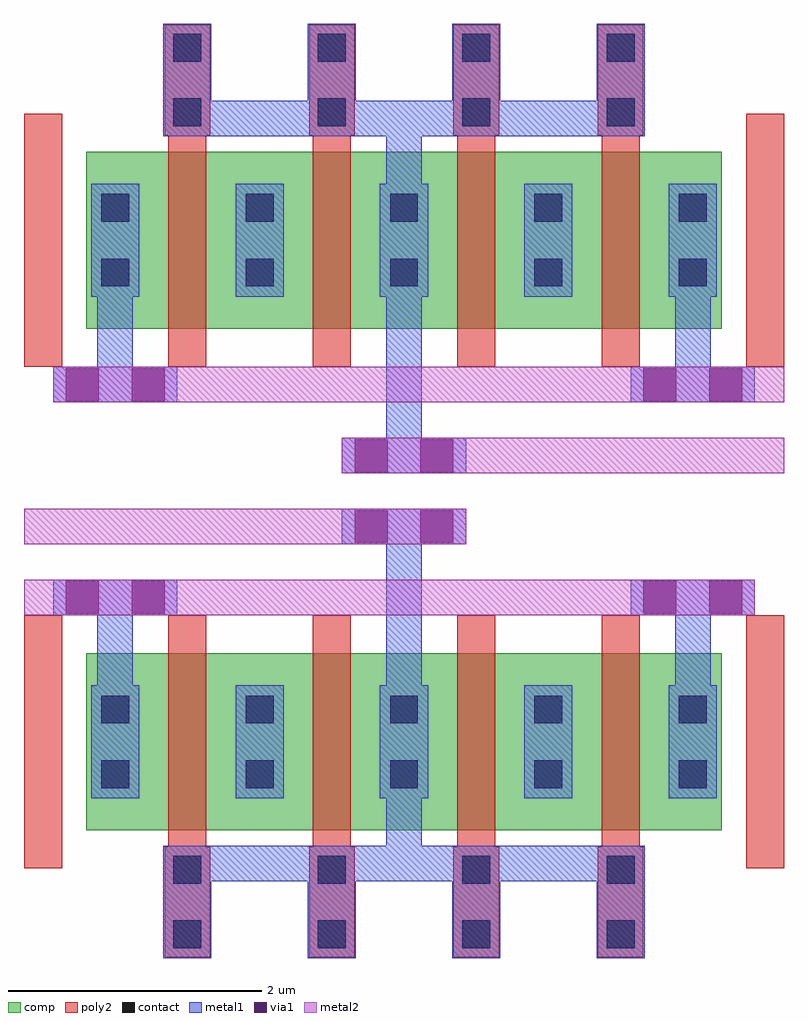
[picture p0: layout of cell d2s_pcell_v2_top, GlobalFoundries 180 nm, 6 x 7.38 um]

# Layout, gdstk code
from math import pi, radians
import gdstk
lib = gdstk.Library(unit=1e-6, precision=5e-09)
def R(c, l, rs):  # rectangles x0, y0, x1, y1
    for r in rs: c.add(gdstk.rectangle(r[:2], r[2:], *l))
def A(c, l, x, y, w, h, nx, ny, dx, dy):  # array of equal rectangles
    R(c, l, [(x+i*dx, y+j*dy, x+i*dx+w, y+j*dy+h) for i in range(nx) for j in range(ny)])
comp = (22, 0)
poly2 = (30, 0)
contact = (33, 0)
metal1 = (34, 0)
via1 = (35, 0)
metal2 = (36, 0)

d2s_pcell_1_2 = lib.new_cell('d2s_pcell_1$2')
R(d2s_pcell_1_2, comp, [(0,0.3,0.46,1.7), (0.46,0.3,1.14,1.7), (1.14,0.3,1.6,1.7)])
R(d2s_pcell_1_2, poly2, [(0.65,0,0.95,2)])
R(d2s_pcell_1_2, contact, [(0.12,0.635,0.34,0.855), (1.26,0.635,1.48,0.855), (0.12,1.145,0.34,1.365), (1.26,1.145,1.48,1.365)])
R(d2s_pcell_1_2, metal1, [(0.04,0.555,0.42,1.445), (1.18,0.555,1.56,1.445)])

d2s_pcell_v2_4 = lib.new_cell('d2s_pcell_v2_4')
A(d2s_pcell_v2_4, poly2, 1.11, 1.83, 0.36, 0.87, 4, 1, 1.14, 0)
R(d2s_pcell_v2_4, poly2, [(0,0,0.3,2), (5.7,0,6,2)])
A(d2s_pcell_v2_4, contact, 1.18, 1.9, 0.22, 0.22, 4, 2, 1.14, 0.51)
A(d2s_pcell_v2_4, metal1, 1.1, 1.82, 0.38, 0.89, 4, 1, 1.14, 0)
d2s_pcell_v2_4.add(gdstk.FlexPath([(3,1.445),(3,1.82)], 0.28, ends="flush", simple_path=True, layer=34, datatype=0))  # metal1
d2s_pcell_v2_4.add(gdstk.FlexPath([(1.48,1.96),(4.52,1.96)], 0.28, ends="flush", simple_path=True, layer=34, datatype=0))  # metal1
d2s_pcell_v2_4.add(gdstk.Reference(d2s_pcell_1_2, (1.63,0)))
d2s_pcell_v2_4.add(gdstk.Reference(d2s_pcell_1_2, (0.49,0)))
d2s_pcell_v2_4.add(gdstk.Reference(d2s_pcell_1_2, (3.91,0)))
d2s_pcell_v2_4.add(gdstk.Reference(d2s_pcell_1_2, (2.77,0)))

m1_m2 = lib.new_cell('M1_M2')
R(m1_m2, via1, [(0.1,0.01,0.36,0.27), (0.62,0.01,0.88,0.27)])
m1_m2.add(gdstk.FlexPath([(0,0.14),(0.98,0.14)], 0.28, ends="flush", simple_path=True, layer=34, datatype=0))  # metal1
m1_m2.add(gdstk.FlexPath([(0,0.14),(0.98,0.14)], 0.28, ends="flush", simple_path=True, layer=36, datatype=0))  # metal2

d2s_pcell_v2_top = lib.new_cell('d2s_pcell_v2_top')
d2s_pcell_v2_top.add(gdstk.FlexPath([(6.88,2.88),(6.88,3.435)], 0.28, ends="flush", simple_path=True, layer=34, datatype=0))  # metal1
d2s_pcell_v2_top.add(gdstk.FlexPath([(4.6,2.88),(4.6,3.995)], 0.28, ends="flush", simple_path=True, layer=34, datatype=0))  # metal1
d2s_pcell_v2_top.add(gdstk.FlexPath([(2.32,2.88),(2.32,3.435)], 0.28, ends="flush", simple_path=True, layer=34, datatype=0))  # metal1
d2s_pcell_v2_top.add(gdstk.FlexPath([(2.32,5.95),(2.32,5.395)], 0.28, ends="flush", simple_path=True, layer=34, datatype=0))  # metal1
d2s_pcell_v2_top.add(gdstk.FlexPath([(4.6,5.95),(4.6,4.835)], 0.28, ends="flush", simple_path=True, layer=34, datatype=0))  # metal1
d2s_pcell_v2_top.add(gdstk.FlexPath([(6.88,5.95),(6.88,5.395)], 0.28, ends="flush", simple_path=True, layer=34, datatype=0))  # metal1
d2s_pcell_v2_top.add(gdstk.FlexPath([(7.37,3.575),(1.6,3.575)], 0.28, ends="flush", simple_path=True, layer=36, datatype=0))  # metal2
d2s_pcell_v2_top.add(gdstk.FlexPath([(5.09,4.135),(1.6,4.135)], 0.28, ends="flush", simple_path=True, layer=36, datatype=0))  # metal2
d2s_pcell_v2_top.add(gdstk.FlexPath([(1.83,5.255),(7.6,5.255)], 0.28, ends="flush", simple_path=True, layer=36, datatype=0))  # metal2
d2s_pcell_v2_top.add(gdstk.FlexPath([(4.11,4.695),(7.6,4.695)], 0.28, ends="flush", simple_path=True, layer=36, datatype=0))  # metal2
d2s_pcell_v2_top.add(gdstk.Reference(d2s_pcell_v2_4, (7.6,5.395), rotation=pi, x_reflection=True))
d2s_pcell_v2_top.add(gdstk.Reference(d2s_pcell_v2_4, (1.6,3.435), x_reflection=True))
d2s_pcell_v2_top.add(gdstk.Reference(m1_m2, (6.39,3.435)))
d2s_pcell_v2_top.add(gdstk.Reference(m1_m2, (4.11,3.995)))
d2s_pcell_v2_top.add(gdstk.Reference(m1_m2, (1.83,3.435)))
d2s_pcell_v2_top.add(gdstk.Reference(m1_m2, (2.81,5.395), rotation=pi))
d2s_pcell_v2_top.add(gdstk.Reference(m1_m2, (5.09,4.835), rotation=pi))
d2s_pcell_v2_top.add(gdstk.Reference(m1_m2, (7.37,5.395), rotation=pi))

lib.write_gds('d2s_pcell_v2_top.gds')
